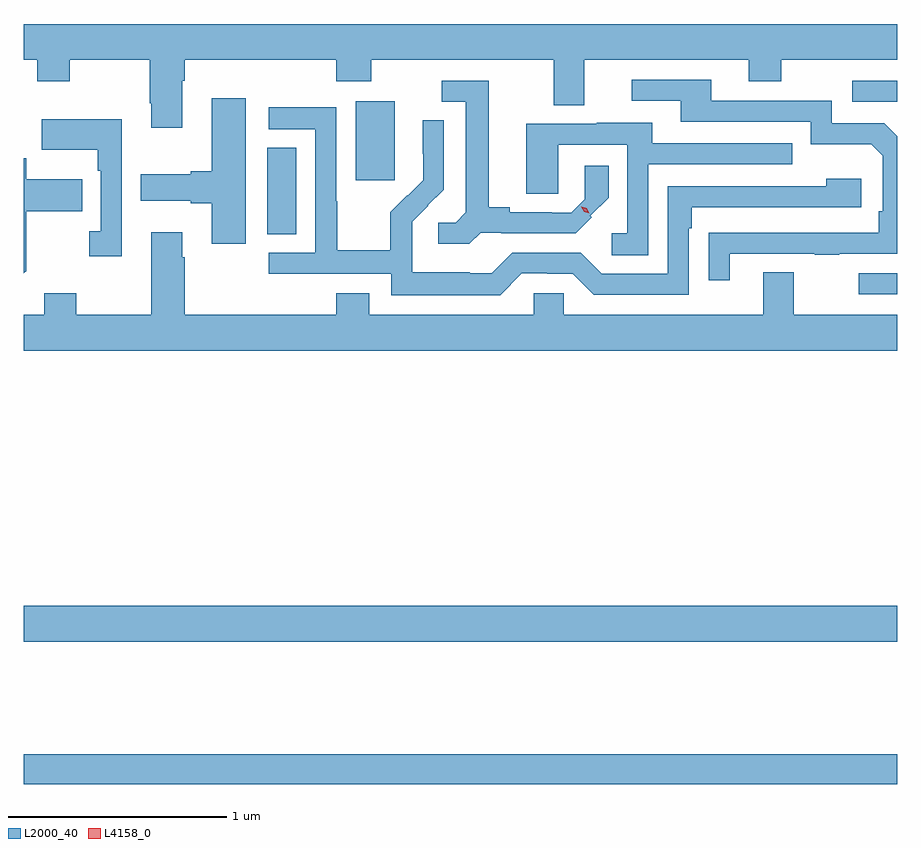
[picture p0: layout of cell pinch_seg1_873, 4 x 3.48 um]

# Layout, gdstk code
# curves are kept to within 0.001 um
import gdstk
lib = gdstk.Library(unit=1e-6, precision=1e-09)
def R(c, l, rs):  # rectangles x0, y0, x1, y1
    for r in rs: c.add(gdstk.rectangle(r[:2], r[2:], *l))
def P(c, l, *ps):  # polygons
    for p in ps: c.add(gdstk.Polygon(p, *l))
L2000_40 = (2000, 40)
L4158_0 = (4158, 0)

pinch_seg1_873 = lib.new_cell('pinch_seg1_873')
R(pinch_seg1_873, L2000_40, [(614.24,507.124,618.24,507.26), (614.24,507.776,618.24,507.94), (618.063,509.367,618.24,509.463), (615.356,509.641,615.487,510.038), (615.761,509.889,615.94,510.25), (618.033,510.249,618.24,510.345)])
P(pinch_seg1_873, L2000_40, [(614.965,510.344),(614.978,510.344),(614.978,510.44),(615.671,510.44),(615.671,510.341),(615.831,510.341),(615.831,510.44),(616.667,510.44),(616.667,510.232),(616.807,510.232),(616.807,510.44),(617.561,510.44),(617.561,510.341),(617.709,510.341),(617.709,510.44),(618.24,510.44),(618.24,510.604),(614.24,510.604),(614.24,510.44),(614.303,510.44),(614.303,510.341),(614.451,510.341),(614.451,510.44),(614.818,510.44),(614.818,510.241),(614.825,510.241),(614.825,510.129),(614.965,510.129)],
  [(617.473,509.553),(617.863,509.553),(617.863,509.548),(617.975,509.548),(617.975,509.553),(618.24,509.553),(618.24,510.09),(618.18,510.15),(617.94,510.15),(617.94,510.252),(617.389,510.252),(617.389,510.348),(617.025,510.348),(617.025,510.252),(617.249,510.252),(617.249,510.156),(617.844,510.156),(617.844,510.053),(618.121,510.053),(618.174,510),(618.174,509.746),(618.154,509.746),(618.154,509.649),(617.377,509.648),(617.377,509.43),(617.473,509.43)],
  [(616.332,509.649),(616.426,509.649),(616.426,509.646),(616.768,509.646),(616.841,509.719),(616.835,509.725),(616.919,509.809),(616.919,509.956),(616.809,509.956),(616.809,509.802),(616.746,509.739),(616.658,509.739),(616.658,509.742),(616.465,509.742),(616.465,509.765),(616.369,509.765),(616.369,510.345),(616.155,510.345),(616.155,510.249),(616.265,510.249),(616.265,509.741),(616.218,509.694),(616.137,509.694),(616.137,509.597),(616.28,509.597)],
  [(615.256,510.265),(615.101,510.265),(615.101,509.93),(615.005,509.93),(615.005,509.917),(614.775,509.917),(614.775,509.795),(615.005,509.795),(615.005,509.783),(615.101,509.783),(615.101,509.598),(615.256,509.598)],
  [(616.521,509.463),(616.637,509.463),(616.637,509.46),(616.755,509.46),(616.851,509.364),(617.286,509.364),(617.286,509.669),(617.299,509.669),(617.299,509.766),(618.076,509.766),(618.076,509.896),(617.915,509.896),(617.915,509.862),(617.19,509.862),(617.19,509.46),(616.887,509.46),(616.791,509.556),(616.476,509.556),(616.383,509.463),(616.283,509.463),(616.283,509.467),(616.02,509.467),(616.02,509.601),(616.018,509.601),(616.018,509.698),(616.164,509.846),(616.164,510.164),(616.068,510.164),(616.068,510.01),(616.07,510.01),(616.07,509.888),(615.999,509.817),(615.996,509.82),(615.919,509.743),(615.919,509.569),(615.675,509.569),(615.675,509.792),(615.672,509.792),(615.672,510.222),(615.363,510.222),(615.363,510.123),(615.576,510.123),(615.576,509.556),(615.363,509.556),(615.363,509.46),(615.924,509.46),(615.924,509.363),(616.421,509.363)],
  [(614.688,510.169),(614.323,510.169),(614.323,510.029),(614.58,510.029),(614.58,509.933),(614.592,509.933),(614.592,509.654),(614.541,509.654),(614.541,509.541),(614.688,509.541)],
  [(617.1,509.961),(617.759,509.961),(617.759,510.057),(617.119,510.057),(617.119,510.151),(616.865,510.151),(616.865,510.147),(616.541,510.147),(616.541,509.827),(616.687,509.827),(616.687,510.051),(617.004,510.051),(617.004,509.646),(616.932,509.646),(616.932,509.545),(617.1,509.545)],
  [(614.251,509.473),(614.251,509.746),(614.507,509.746),(614.507,509.893),(614.251,509.893),(614.251,509.989),(614.24,509.989),(614.24,509.462)],
  [(618.24,509.272),(617.767,509.272),(617.767,509.467),(617.627,509.467),(617.627,509.272),(616.713,509.272),(616.713,509.37),(616.575,509.37),(616.575,509.272),(615.823,509.272),(615.823,509.371),(615.671,509.371),(615.671,509.272),(614.978,509.272),(614.978,509.537),(614.965,509.537),(614.965,509.65),(614.825,509.65),(614.825,509.272),(614.481,509.272),(614.481,509.371),(614.333,509.371),(614.333,509.272),(614.24,509.272),(614.24,509.108),(618.24,509.108)])
P(pinch_seg1_873, L4158_0, [(616.83,509.737),(616.806,509.745),(616.794,509.768),(616.794,509.768),(616.795,509.768),(616.819,509.76),(616.83,509.738),(616.83,509.737)])

lib.write_gds('pinch_seg1_873.gds')
